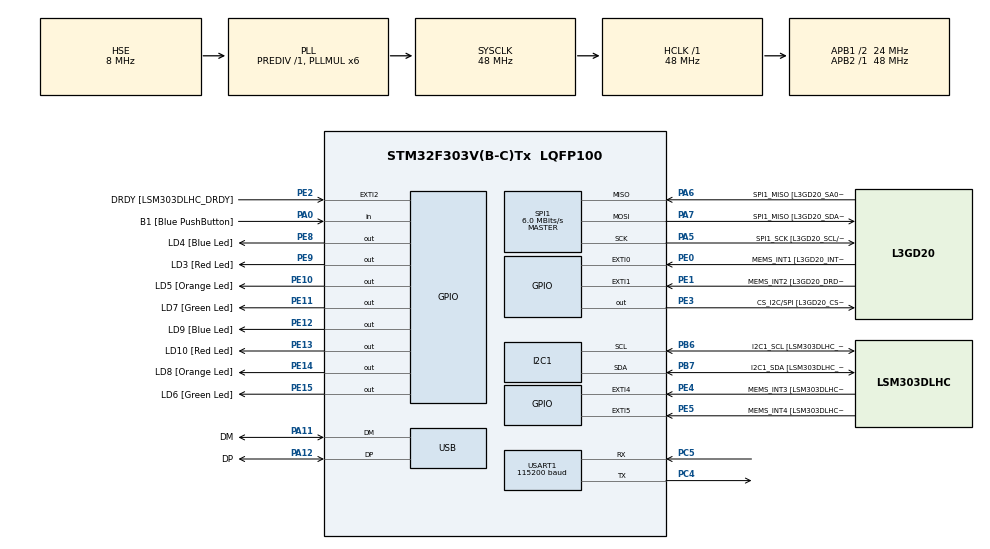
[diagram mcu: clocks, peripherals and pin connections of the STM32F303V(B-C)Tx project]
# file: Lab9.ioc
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I2C1.Timing=0x00201D2B
I2C1.Timing-I2C=0x2000090E
Mcu.Family=STM32F3
Mcu.Name=STM32F303V(B-C)Tx
Mcu.Package=LQFP100
NVIC.PriorityGroup=NVIC_PRIORITYGROUP_0
PA0.GPIO_Label=B1 [Blue PushButton]
PA0.Signal=GPIO_Input
PA11.GPIO_Label=DM
PA11.Mode=Device
PA11.Signal=USB_DM
PA12.GPIO_Label=DP
PA12.Mode=Device
PA12.Signal=USB_DP
PA13.GPIO_Label=SWDIO
PA13.Mode=Serial_Wire
PA13.Signal=SYS_JTMS-SWDIO
PA14.GPIO_Label=SWCLK
PA14.Mode=Serial_Wire
PA14.Signal=SYS_JTCK-SWCLK
PA5.GPIO_Label=SPI1_SCK [L3GD20_SCL/SPC]
PA5.Mode=Full_Duplex_Master
PA5.Signal=SPI1_SCK
PA6.GPIO_Label=SPI1_MISO [L3GD20_SA0/SDO]
PA6.Mode=Full_Duplex_Master
PA6.Signal=SPI1_MISO
PA7.GPIO_Label=SPI1_MISO [L3GD20_SDA/SDI/SDO]
PA7.Mode=Full_Duplex_Master
PA7.Signal=SPI1_MOSI
PB3.GPIO_Label=SWO
PB3.Signal=SYS_JTDO-TRACESWO
PB6.GPIO_Label=I2C1_SCL [LSM303DLHC_SCL]
PB6.GPIO_Pu=GPIO_PULLUP
PB6.Mode=I2C
PB6.Signal=I2C1_SCL
PB7.GPIO_Label=I2C1_SDA [LSM303DLHC_SDA]
PB7.GPIO_Pu=GPIO_PULLUP
PB7.Mode=I2C
PB7.Signal=I2C1_SDA
PC14-OSC32_IN.GPIO_Label=OSC32_IN
PC14-OSC32_IN.Signal=RCC_OSC32_IN
PC15-OSC32_OUT.GPIO_Label=OSC32_OUT
PC15-OSC32_OUT.Signal=RCC_OSC32_OUT
PC4.Mode=Asynchronous
PC4.Signal=USART1_TX
PC5.Mode=Asynchronous
PC5.Signal=USART1_RX
PE0.GPIO_Label=MEMS_INT1 [L3GD20_INT1]
PE0.GPIO_ModeDefaultEXTI=GPIO_MODE_EVT_RISING
PE0.Signal=GPXTI0
PE1.GPIO_Label=MEMS_INT2 [L3GD20_DRDY/INT2]
PE1.GPIO_ModeDefaultEXTI=GPIO_MODE_EVT_RISING
PE1.Signal=GPXTI1
PE10.GPIO_Label=LD5 [Orange Led]
PE10.Signal=GPIO_Output
PE11.GPIO_Label=LD7 [Green Led]
PE11.Signal=GPIO_Output
PE12.GPIO_Label=LD9 [Blue Led]
PE12.Signal=GPIO_Output
PE13.GPIO_Label=LD10 [Red Led]
PE13.Signal=GPIO_Output
PE14.GPIO_Label=LD8 [Orange Led]
PE14.Signal=GPIO_Output
PE15.GPIO_Label=LD6 [Green Led]
PE15.Signal=GPIO_Output
PE2.GPIO_Label=DRDY [LSM303DLHC_DRDY]
PE2.GPIO_ModeDefaultEXTI=GPIO_MODE_EVT_RISING
PE2.Signal=GPXTI2
PE3.GPIO_Label=CS_I2C/SPI [L3GD20_CS_I2C/SPI]
PE3.Signal=GPIO_Output
PE4.GPIO_Label=MEMS_INT3 [LSM303DLHC_INT1]
PE4.GPIO_ModeDefaultEXTI=GPIO_MODE_EVT_RISING
PE4.Signal=GPXTI4
PE5.GPIO_Label=MEMS_INT4 [LSM303DLHC_INT2]
PE5.GPIO_ModeDefaultEXTI=GPIO_MODE_EVT_RISING
PE5.Signal=GPXTI5
PE8.GPIO_Label=LD4 [Blue Led]
PE8.Signal=GPIO_Output
PE9.GPIO_Label=LD3 [Red Led]
PE9.Signal=GPIO_Output
PF0-OSC_IN.GPIO_Label=OSC_IN
PF0-OSC_IN.Mode=HSE-External-Clock-Source
PF0-OSC_IN.Signal=RCC_OSC_IN
PF1-OSC_OUT.GPIO_Label=OSC_OUT
PF1-OSC_OUT.Signal=RCC_OSC_OUT
ProjectManager.HeapSize=0x200
ProjectManager.StackSize=0x400
ProjectManager.TargetToolchain=CMake
RCC.AHBFreq_Value=48000000
RCC.APB1CLKDivider=RCC_HCLK_DIV2
RCC.APB1Freq_Value=24000000
RCC.APB1TimFreq_Value=48000000
RCC.APB2Freq_Value=48000000
RCC.APB2TimFreq_Value=48000000
RCC.CortexFreq_Value=48000000
RCC.HCLKFreq_Value=48000000
RCC.HSE_VALUE=8000000
RCC.HSI_VALUE=8000000
RCC.LSE_VALUE=32768
RCC.PLLMUL=RCC_PLL_MUL6
RCC.SYSCLKFreq_VALUE=48000000
RCC.SYSCLKSourceVirtual=RCC_SYSCLKSOURCE_PLLCLK
RCC.USBFreq_Value=48000000
SPI1.BaudRatePrescaler=SPI_BAUDRATEPRESCALER_8
SPI1.BaudRatePrescaler-Full_Duplex_Master=SPI_BAUDRATEPRESCALER_2
SPI1.CLKPhase=SPI_PHASE_2EDGE
SPI1.CLKPolarity=SPI_POLARITY_HIGH
SPI1.CalculateBaudRate=6.0 MBits/s
SPI1.CalculateBaudRate-Full_Duplex_Master=24.0 MBits/s
SPI1.DataSize=SPI_DATASIZE_8BIT
SPI1.Direction=SPI_DIRECTION_2LINES
SPI1.Mode=SPI_MODE_MASTER
SPI1.Mode-Full_Duplex_Master=SPI_MODE_MASTER
SPI1.VirtualType=VM_MASTER
USART1.BaudRate=115200
USART1.VirtualMode-Asynchronous=VM_ASYNC
board=STM32F3DISCOVERY

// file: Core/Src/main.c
/* USER CODE BEGIN Header */
/**
  ******************************************************************************
  * @file           : main.c
  * @brief          : Main program body
  ******************************************************************************
  * @attention
  *
  * Copyright (c) 2026 STMicroelectronics.
  * All rights reserved.
  *
  * This software is licensed under terms that can be found in the LICENSE file
  * in the root directory of this software component.
  * If no LICENSE file comes with this software, it is provided AS-IS.
  *
  ******************************************************************************
  */
/* USER CODE END Header */
#include "main.h"

/* USER CODE BEGIN Includes */
#include <stdio.h>
#include <stdint.h>
#include <string.h>
/* USER CODE END Includes */

/* USER CODE BEGIN PTD */
typedef struct {
  int16_t raw_x;
  int16_t raw_y;
  int16_t raw_z;
  float scaled_x;
  float scaled_y;
  float scaled_z;
  float offset_x;
  float offset_y;
  float offset_z;
  int16_t gyro_raw_x;
  int16_t gyro_raw_y;
  int16_t gyro_raw_z;
  float   gyro_scaled_x;
  float   gyro_scaled_y;
  float   gyro_scaled_z;
} LSM_Data;
/* USER CODE END PTD */

/* USER CODE BEGIN PD */
#define LSM_ADDR (0x19 << 1)
#define GYRO_CS_PORT GPIOE
#define GYRO_CS_PIN  GPIO_PIN_3

#define GYRO_CTRL_REG1 0x20
#define GYRO_OUT_X_L   0x28
/* USER CODE END PD */

I2C_HandleTypeDef hi2c1;

SPI_HandleTypeDef hspi1;

UART_HandleTypeDef huart1;

PCD_HandleTypeDef hpcd_USB_FS;

/* USER CODE BEGIN PV */
LSM_Data acc_data;
/* USER CODE END PV */

void SystemClock_Config(void);
static void MX_GPIO_Init(void);
static void MX_I2C1_Init(void);
static void MX_SPI1_Init(void);
static void MX_USART1_UART_Init(void);
static void MX_USB_PCD_Init(void);
/* USER CODE BEGIN PFP */
void LSM_Init(void);
void GYRO_Init(void);
void GYRO_Read(LSM_Data *data);
void LSM_Read(LSM_Data *data);
/* USER CODE END PFP */

/* USER CODE BEGIN 0 */
void LSM_Offset_Calibration(LSM_Data *data) {
float sum_x = 0.0f, sum_y = 0.0f, sum_z = 0.0f;
uint8_t low_byte, high_byte;
int16_t raw_x, raw_y, raw_z;

for (int i = 0; i < 20; i++) {
HAL_I2C_Mem_Read(&hi2c1, LSM_ADDR, 0x28, 1, &low_byte, 1, HAL_MAX_DELAY);
HAL_I2C_Mem_Read(&hi2c1, LSM_ADDR, 0x29, 1, &high_byte, 1, HAL_MAX_DELAY);
raw_x = (int16_t)((high_byte << 8) | low_byte);

HAL_I2C_Mem_Read(&hi2c1, LSM_ADDR, 0x2A, 1, &low_byte, 1, HAL_MAX_DELAY);
HAL_I2C_Mem_Read(&hi2c1, LSM_ADDR, 0x2B, 1, &high_byte, 1, HAL_MAX_DELAY);
raw_y = (int16_t)((high_byte << 8) | low_byte);

HAL_I2C_Mem_Read(&hi2c1, LSM_ADDR, 0x2C, 1, &low_byte, 1, HAL_MAX_DELAY);
HAL_I2C_Mem_Read(&hi2c1, LSM_ADDR, 0x2D, 1, &high_byte, 1, HAL_MAX_DELAY);
raw_z = (int16_t)((high_byte << 8) | low_byte);

sum_x += (raw_x * 3.9f / 1000.0f);
sum_y += (raw_y * 3.9f / 1000.0f);
sum_z += (raw_z * 3.9f / 1000.0f);

HAL_Delay(20);
}

data->offset_x = sum_x / 20.0f;
data->offset_y = sum_y / 20.0f;
data->offset_z = (sum_z / 20.0f) - 1.0f;
}
/* USER CODE END 0 */

int main(void)
{

  /* MCU Configuration--------------------------------------------------------*/

  /* Reset of all peripherals, Initializes the Flash interface and the Systick. */
  HAL_Init();

  /* Configure the system clock */
  SystemClock_Config();

  /* Initialize all configured peripherals */
  MX_GPIO_Init();
  MX_I2C1_Init();
  MX_SPI1_Init();
  MX_USART1_UART_Init();
  MX_USB_PCD_Init();
  /* USER CODE BEGIN 2 */
  memset(&acc_data, 0, sizeof(LSM_Data));

  uint8_t who_am_i;
    HAL_I2C_Mem_Read(&hi2c1,
                 LSM_ADDR,
                 0x0F,
                 I2C_MEMADD_SIZE_8BIT,
                 &who_am_i,
                 1,
                 HAL_MAX_DELAY);

    printf("WHO_AM_I = 0x%X\r\n", who_am_i);

  LSM_Init();
  GYRO_Init();
  LSM_Offset_Calibration(&acc_data);
  /* USER CODE END 2 */

  /* Infinite loop */
  /* USER CODE BEGIN WHILE */
  while (1)
  { LSM_Read(&acc_data);
    GYRO_Read(&acc_data);     // SPI gyro

    printf("ACC: %.2f %.2f %.2f | GYRO: %.2f %.2f %.2f\r\n",
           acc_data.scaled_x,
           acc_data.scaled_y,
           acc_data.scaled_z,
           acc_data.gyro_scaled_x,
           acc_data.gyro_scaled_y,
           acc_data.gyro_scaled_z);
  // HAL_Delay(100);
    /* USER CODE END WHILE */

  }
}

void SystemClock_Config(void)
{
  RCC_OscInitTypeDef RCC_OscInitStruct = {0};
  RCC_ClkInitTypeDef RCC_ClkInitStruct = {0};
  RCC_PeriphCLKInitTypeDef PeriphClkInit = {0};

  /** Initializes the RCC Oscillators according to the specified parameters
  * in the RCC_OscInitTypeDef structure.
  */
  RCC_OscInitStruct.OscillatorType = RCC_OSCILLATORTYPE_HSI|RCC_OSCILLATORTYPE_HSE;
  RCC_OscInitStruct.HSEState = RCC_HSE_BYPASS;
  RCC_OscInitStruct.HSEPredivValue = RCC_HSE_PREDIV_DIV1;
  RCC_OscInitStruct.HSIState = RCC_HSI_ON;
  RCC_OscInitStruct.HSICalibrationValue = RCC_HSICALIBRATION_DEFAULT;
  RCC_OscInitStruct.PLL.PLLState = RCC_PLL_ON;
  RCC_OscInitStruct.PLL.PLLSource = RCC_PLLSOURCE_HSE;
  RCC_OscInitStruct.PLL.PLLMUL = RCC_PLL_MUL6;
  if (HAL_RCC_OscConfig(&RCC_OscInitStruct) != HAL_OK)
  {
    Error_Handler();
  }

  /** Initializes the CPU, AHB and APB buses clocks
  */
  RCC_ClkInitStruct.ClockType = RCC_CLOCKTYPE_HCLK|RCC_CLOCKTYPE_SYSCLK
                              |RCC_CLOCKTYPE_PCLK1|RCC_CLOCKTYPE_PCLK2;
  RCC_ClkInitStruct.SYSCLKSource = RCC_SYSCLKSOURCE_PLLCLK;
  RCC_ClkInitStruct.AHBCLKDivider = RCC_SYSCLK_DIV1;
  RCC_ClkInitStruct.APB1CLKDivider = RCC_HCLK_DIV2;
  RCC_ClkInitStruct.APB2CLKDivider = RCC_HCLK_DIV1;

  if (HAL_RCC_ClockConfig(&RCC_ClkInitStruct, FLASH_LATENCY_1) != HAL_OK)
  {
    Error_Handler();
  }
  PeriphClkInit.PeriphClockSelection = RCC_PERIPHCLK_USB|RCC_PERIPHCLK_USART1
                              |RCC_PERIPHCLK_I2C1;
  PeriphClkInit.Usart1ClockSelection = RCC_USART1CLKSOURCE_PCLK2;
  PeriphClkInit.I2c1ClockSelection = RCC_I2C1CLKSOURCE_HSI;
  PeriphClkInit.USBClockSelection = RCC_USBCLKSOURCE_PLL;
  if (HAL_RCCEx_PeriphCLKConfig(&PeriphClkInit) != HAL_OK)
  {
    Error_Handler();
  }
}

static void MX_I2C1_Init(void)
{

  hi2c1.Instance = I2C1;
  hi2c1.Init.Timing = 0x00201D2B;
  hi2c1.Init.OwnAddress1 = 0;
  hi2c1.Init.AddressingMode = I2C_ADDRESSINGMODE_7BIT;
  hi2c1.Init.DualAddressMode = I2C_DUALADDRESS_DISABLE;
  hi2c1.Init.OwnAddress2 = 0;
  hi2c1.Init.OwnAddress2Masks = I2C_OA2_NOMASK;
  hi2c1.Init.GeneralCallMode = I2C_GENERALCALL_DISABLE;
  hi2c1.Init.NoStretchMode = I2C_NOSTRETCH_DISABLE;
  if (HAL_I2C_Init(&hi2c1) != HAL_OK)
  {
    Error_Handler();
  }

  /** Configure Analogue filter
  */
  if (HAL_I2CEx_ConfigAnalogFilter(&hi2c1, I2C_ANALOGFILTER_ENABLE) != HAL_OK)
  {
    Error_Handler();
  }

  /** Configure Digital filter
  */
  if (HAL_I2CEx_ConfigDigitalFilter(&hi2c1, 0) != HAL_OK)
  {
    Error_Handler();
  }

}

static void MX_SPI1_Init(void)
{

  /* SPI1 parameter configuration*/
  hspi1.Instance = SPI1;
  hspi1.Init.Mode = SPI_MODE_MASTER;
  hspi1.Init.Direction = SPI_DIRECTION_2LINES;
  hspi1.Init.DataSize = SPI_DATASIZE_8BIT;
  hspi1.Init.CLKPolarity = SPI_POLARITY_HIGH;
  hspi1.Init.CLKPhase = SPI_PHASE_2EDGE;
  hspi1.Init.NSS = SPI_NSS_SOFT;
  hspi1.Init.BaudRatePrescaler = SPI_BAUDRATEPRESCALER_8;
  hspi1.Init.FirstBit = SPI_FIRSTBIT_MSB;
  hspi1.Init.TIMode = SPI_TIMODE_DISABLE;
  hspi1.Init.CRCCalculation = SPI_CRCCALCULATION_DISABLE;
  hspi1.Init.CRCPolynomial = 7;
  hspi1.Init.CRCLength = SPI_CRC_LENGTH_DATASIZE;
  hspi1.Init.NSSPMode = SPI_NSS_PULSE_DISABLE;
  if (HAL_SPI_Init(&hspi1) != HAL_OK)
  {
    Error_Handler();
  }

}

static void MX_USART1_UART_Init(void)
{

  huart1.Instance = USART1;
  huart1.Init.BaudRate = 115200;
  huart1.Init.WordLength = UART_WORDLENGTH_8B;
  huart1.Init.StopBits = UART_STOPBITS_1;
  huart1.Init.Parity = UART_PARITY_NONE;
  huart1.Init.Mode = UART_MODE_TX_RX;
  huart1.Init.HwFlowCtl = UART_HWCONTROL_NONE;
  huart1.Init.OverSampling = UART_OVERSAMPLING_16;
  huart1.Init.OneBitSampling = UART_ONE_BIT_SAMPLE_DISABLE;
  huart1.AdvancedInit.AdvFeatureInit = UART_ADVFEATURE_NO_INIT;
  if (HAL_UART_Init(&huart1) != HAL_OK)
  {
    Error_Handler();
  }

}

static void MX_USB_PCD_Init(void)
{

  hpcd_USB_FS.Instance = USB;
  hpcd_USB_FS.Init.dev_endpoints = 8;
  hpcd_USB_FS.Init.speed = PCD_SPEED_FULL;
  hpcd_USB_FS.Init.phy_itface = PCD_PHY_EMBEDDED;
  hpcd_USB_FS.Init.low_power_enable = DISABLE;
  hpcd_USB_FS.Init.battery_charging_enable = DISABLE;

  if (HAL_PCD_Init(&hpcd_USB_FS) != HAL_OK)
  {
    Error_Handler();
  }

}

static void MX_GPIO_Init(void)
{
  GPIO_InitTypeDef GPIO_InitStruct = {0};

  /* GPIO Ports Clock Enable */
  __HAL_RCC_GPIOE_CLK_ENABLE();
  __HAL_RCC_GPIOC_CLK_ENABLE();
  __HAL_RCC_GPIOF_CLK_ENABLE();
  __HAL_RCC_GPIOA_CLK_ENABLE();
  __HAL_RCC_GPIOB_CLK_ENABLE();

  /*Configure GPIO pin Output Level */
  HAL_GPIO_WritePin(GPIOE, CS_I2C_SPI_Pin|LD4_Pin|LD3_Pin|LD5_Pin
                          |LD7_Pin|LD9_Pin|LD10_Pin|LD8_Pin
                          |LD6_Pin, GPIO_PIN_RESET);

  /*Configure GPIO pins : DRDY_Pin MEMS_INT3_Pin MEMS_INT4_Pin MEMS_INT1_Pin
                           MEMS_INT2_Pin */
  GPIO_InitStruct.Pin = DRDY_Pin|MEMS_INT3_Pin|MEMS_INT4_Pin|MEMS_INT1_Pin
                          |MEMS_INT2_Pin;
  GPIO_InitStruct.Mode = GPIO_MODE_EVT_RISING;
  GPIO_InitStruct.Pull = GPIO_NOPULL;
  HAL_GPIO_Init(GPIOE, &GPIO_InitStruct);

  /*Configure GPIO pins : CS_I2C_SPI_Pin LD4_Pin LD3_Pin LD5_Pin
                           LD7_Pin LD9_Pin LD10_Pin LD8_Pin
                           LD6_Pin */
  GPIO_InitStruct.Pin = CS_I2C_SPI_Pin|LD4_Pin|LD3_Pin|LD5_Pin
                          |LD7_Pin|LD9_Pin|LD10_Pin|LD8_Pin
                          |LD6_Pin;
  GPIO_InitStruct.Mode = GPIO_MODE_OUTPUT_PP;
  GPIO_InitStruct.Pull = GPIO_NOPULL;
  GPIO_InitStruct.Speed = GPIO_SPEED_FREQ_LOW;
  HAL_GPIO_Init(GPIOE, &GPIO_InitStruct);

  /*Configure GPIO pin : B1_Pin */
  GPIO_InitStruct.Pin = B1_Pin;
  GPIO_InitStruct.Mode = GPIO_MODE_INPUT;
  GPIO_InitStruct.Pull = GPIO_NOPULL;
  HAL_GPIO_Init(B1_GPIO_Port, &GPIO_InitStruct);

}

/* USER CODE BEGIN 4 */
void LSM_Init(void)
{
    uint8_t data;

    // CTRL_REG1_A → 100Hz, enable X Y Z
    data = 0x57;
    HAL_I2C_Mem_Write(&hi2c1,
                      LSM_ADDR,
                      0x20,
                      I2C_MEMADD_SIZE_8BIT,
                      &data,
                      1,
                      HAL_MAX_DELAY);

    // CTRL_REG4_A → ±2g
    data = 0x00;
    HAL_I2C_Mem_Write(&hi2c1,
                      LSM_ADDR,
                      0x23,
                      I2C_MEMADD_SIZE_8BIT,
                      &data,
                      1,
                      HAL_MAX_DELAY);
}

void GYRO_Init(void)
{
    uint8_t data[2];

    data[0] = GYRO_CTRL_REG1;
    data[1] = 0x0F;   // Power on, enable X Y Z, 95Hz

    HAL_GPIO_WritePin(GYRO_CS_PORT, GYRO_CS_PIN, GPIO_PIN_RESET);
    HAL_SPI_Transmit(&hspi1, data, 2, HAL_MAX_DELAY);
    HAL_GPIO_WritePin(GYRO_CS_PORT, GYRO_CS_PIN, GPIO_PIN_SET);
}

void LSM_Read(LSM_Data *data)
{
    uint8_t rawData[6];

    HAL_I2C_Mem_Read(&hi2c1,
                     LSM_ADDR,
                     0x28 | 0x80,
                     I2C_MEMADD_SIZE_8BIT,
                     rawData,
                     6,
                     HAL_MAX_DELAY);

    data->raw_x = (int16_t)((rawData[1] << 8) | rawData[0]);
    data->raw_y = (int16_t)((rawData[3] << 8) | rawData[2]);
    data->raw_z = (int16_t)((rawData[5] << 8) | rawData[4]);

    data->scaled_x = (data->raw_x * 3.9f / 1000.0f) - data->offset_x;
    data->scaled_y = (data->raw_y * 3.9f / 1000.0f) - data->offset_y;
    data->scaled_z = (data->raw_z * 3.9f / 1000.0f) - data->offset_z;
    LSM_Offset_Calibration(&acc_data);
}

void GYRO_Read(LSM_Data *data)
{
    uint8_t tx_buf[7] = {0};
    uint8_t rx_buf[7] = {0};

    tx_buf[0] = 0xC0 | GYRO_OUT_X_L;
    // 0x80 = Read
    // 0x40 = Auto increment

    HAL_GPIO_WritePin(GYRO_CS_PORT, GYRO_CS_PIN, GPIO_PIN_RESET);
    HAL_SPI_TransmitReceive(&hspi1, tx_buf, rx_buf, 7, HAL_MAX_DELAY);
    HAL_GPIO_WritePin(GYRO_CS_PORT, GYRO_CS_PIN, GPIO_PIN_SET);

    data->gyro_raw_x = (int16_t)((rx_buf[2] << 8) | rx_buf[1]);
    data->gyro_raw_y = (int16_t)((rx_buf[4] << 8) | rx_buf[3]);
    data->gyro_raw_z = (int16_t)((rx_buf[6] << 8) | rx_buf[5]);

    // L3GD20 ±250 dps sensitivity
    data->gyro_scaled_x = data->gyro_raw_x * 0.00875f;
    data->gyro_scaled_y = data->gyro_raw_y * 0.00875f;
    data->gyro_scaled_z = data->gyro_raw_z * 0.00875f;
}

int _write(int file, char *ptr, int len)
{
    HAL_UART_Transmit(&huart1, (uint8_t*)ptr, len, HAL_MAX_DELAY);
    return len;
}
/* USER CODE END 4 */

void Error_Handler(void)
{
  __disable_irq();
  while (1)
  {
  }
}
